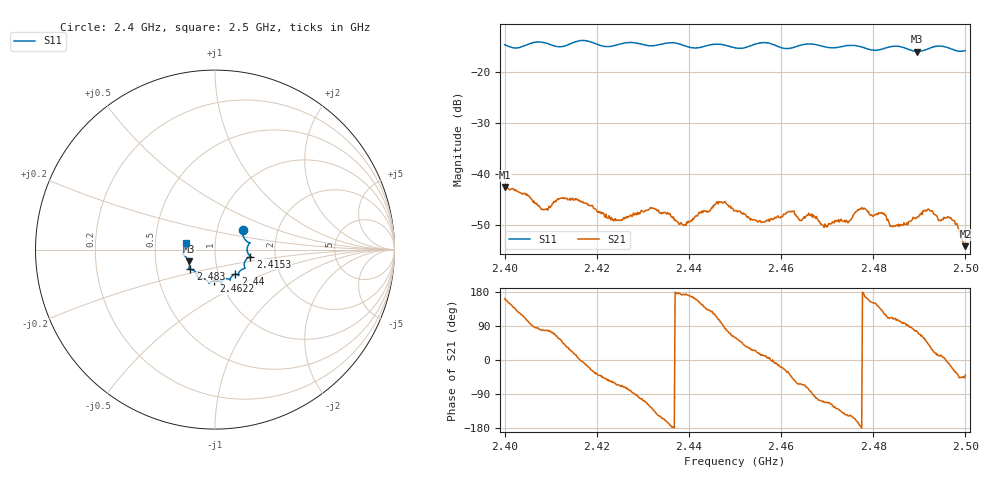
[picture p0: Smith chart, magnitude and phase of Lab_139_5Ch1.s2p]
# Hz S RI R 50
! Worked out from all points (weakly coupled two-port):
!   601 points, 2.4 GHz to 2.5 GHz, reference 50 ohm
!   highest |S21| = -42.61 dB at 2.4 GHz (marker M1); lowest = -54.2 dB at 2.5 GHz (marker M2)
!   lowest |S11| = -15.9 dB at 2.4895 GHz (marker M3), VSWR 1.38, Z = 36.9 - j5.01 ohm
!   |S11| at or under -10 dB: start of sweep to end of sweep
!   S12 and S22 are empty: the file has one direction only
!   S11 on the Smith chart (normalised r, x): 2.4 GHz: 1.33, +0.29; 2.4153 GHz: 1.48, -0.12; 2.44 GHz: 1.20, -0.34; 2.4622 GHz: 0.93, -0.33; 2.483 GHz: 0.74, -0.17; 2.5 GHz: 0.72, +0.06
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2.4e9  0.1545 0.1066  -0.00704 0.00229  0 0  0 0
2.4085e9  0.1938 0.0367  0.00089 0.00432  0 0  0 0
2.415333e9  0.1963 -0.0388  0.00541 0.00134  0 0  0 0
2.416667e9  0.202 -0.0426  0.00526 -0.000293  0 0  0 0
2.424167e9  0.1631 -0.0888  0.00154 -0.00312  0 0  0 0
2.433333e9  0.1311 -0.1337  -0.00371 -0.00241  0 0  0 0
2.44e9  0.1137 -0.1368  -0.0033 0.000591  0 0  0 0
2.4465e9  0.0849 -0.1702  -0.00154 0.0051  0 0  0 0
2.45e9  0.0645 -0.1627  0.00225 0.00373  0 0  0 0
2.456167e9  0.0385 -0.193  0.00331 0.000698  0 0  0 0
2.462167e9  -0.0072 -0.1736  0.00313 -0.00285  0 0  0 0
2.464167e9  -0.028 -0.183  0.00159 -0.00314  0 0  0 0
2.466667e9  -0.034 -0.1877  0.000207 -0.00403  0 0  0 0
2.469667e9  -0.0446 -0.1724  -0.00113 -0.00283  0 0  0 0
2.474833e9  -0.0915 -0.1606  -0.00285 -0.00188  0 0  0 0
2.477667e9  -0.0979 -0.1477  -0.00458 6.88e-05  0 0  0 0
2.483e9  -0.1377 -0.1097  -0.00144 0.00319  0 0  0 0
2.483333e9  -0.1402 -0.1095  -0.00126 0.00314  0 0  0 0
2.4895e9  -0.1465 -0.066  0.000918 0.00365  0 0  0 0
2.491667e9  -0.1651 -0.038  0.00296 0.00322  0 0  0 0
2.496667e9  -0.1724 -0.0101  0.00355 -0.00086  0 0  0 0
2.5e9  -0.1597 0.0394  0.0015 -0.00123  0 0  0 0
